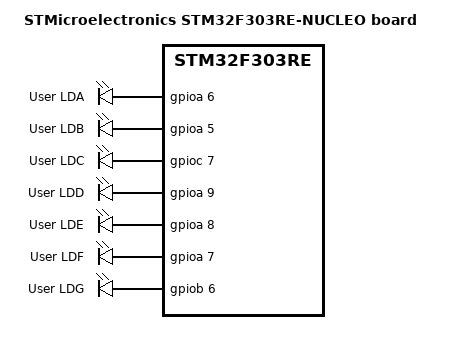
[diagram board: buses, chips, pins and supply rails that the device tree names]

/ {
	model = "STMicroelectronics STM32F303RE-NUCLEO board";
	compatible = "st,stm32f303re-nucleo";

	chosen {
		zephyr,console = &usart2;
		zephyr,shell-uart = &usart2;
		zephyr,sram = &sram0;
		zephyr,flash = &flash0;
		zephyr,canbus = &can1;
	};

	leds: leds {
		compatible = "gpio-leds";
	    
		led_a: led_a {
			gpios = <&gpioa 6 GPIO_ACTIVE_HIGH>;
			label = "User LDA";
		};

		led_b: led_b {
			gpios = <&gpioa 5 GPIO_ACTIVE_HIGH>;
			label = "User LDB";
		};

		led_c: led_c {
			gpios = <&gpioc 7 GPIO_ACTIVE_HIGH>;
			label = "User LDC";
		};

		led_d: led_d {
			gpios = <&gpioa 9 GPIO_ACTIVE_HIGH>;
			label = "User LDD";
		};

		led_e: led_e {
			gpios = <&gpioa 8 GPIO_ACTIVE_HIGH>;
			label = "User LDE";
		};

		led_f: led_f {
			gpios = <&gpioa 7 GPIO_ACTIVE_HIGH>;
			label = "User LDF";
		};

		led_g: led_g {
			gpios = <&gpiob 6 GPIO_ACTIVE_HIGH>;
			label = "User LDG";
		};
	};


	aliases {
        leda = &led_a;
        ledb = &led_b;
		ledc = &led_c;
		ledd = &led_d;
		lede = &led_e;
		ledf = &led_f;
		ledg = &led_g;
	};
};
